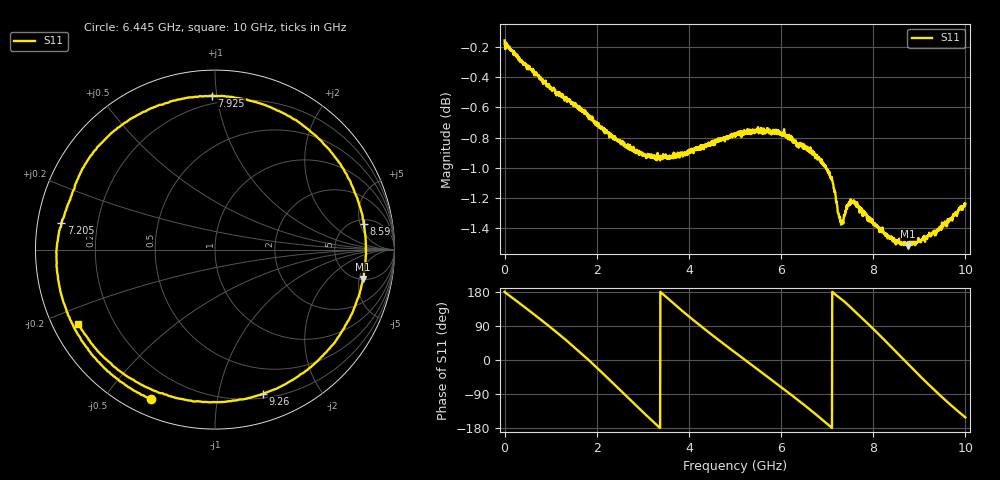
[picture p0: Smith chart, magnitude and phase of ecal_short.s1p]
!Keysight Technologies,M9375A,MY54321142,A.14.10.03
!Date: Thursday, September 11, 2025 11:54:40
!Correction: S11(C  2-Port  )
!S1P File: Measurement: :
# Hz S  dB  R 50
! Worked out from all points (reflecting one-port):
!   2001 points, 1 MHz to 10 GHz, reference 50 ohm
!   lowest |S11| = -1.5 dB at 8.76 GHz (marker M1), VSWR 11.44, Z = 254 - j282 ohm
!   phase of S11 starts at 180 deg and turns -1051 deg over the sweep
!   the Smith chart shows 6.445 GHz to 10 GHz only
!   S11 on the Smith chart (normalised r, x): 6.445 GHz: 0.07, -0.66; 7.205 GHz: 0.07, +0.09; 7.925 GHz: 0.15, +0.97; 8.59 GHz: 5.82, +5.72; 9.26 GHz: 0.24, -1.36; 10 GHz: 0.08, -0.25
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1000000  -0.15 179.9
7.0093e8  -0.38 114.6
1.250875e9  -0.51 60.8
1.585842e9  -0.60 26.0
1.875812e9  -0.67 -5.9
2.165784e9  -0.74 -39.1
2.50075e9  -0.82 -78.5
2.810719e9  -0.89 -115.1
3.165684e9  -0.94 -156.0
3.450655e9  -0.93 172.2
3.750625e9  -0.93 140.5
4.340566e9  -0.85 81.7
5.0005e9  -0.79 20.1
5.550445e9  -0.76 -30.2
5.915408e9  -0.77 -63.4
6.250375e9  -0.83 -94.8
6.445356e9  -0.84 -113.2
6.850315e9  -0.95 -153.0
7.20528e9  -1.22 170.2
7.50025e9  -1.25 139.9
7.925208e9  -1.33 91.2
8.230177e9  -1.44 54.4
8.590141e9  -1.51 9.9
8.750125e9  -1.50 -9.9
8.760124e9  -1.52 -11.3
9.260074e9  -1.44 -71.7
9.590041e9  -1.39 -108.7
1e10  -1.24 -151.5
